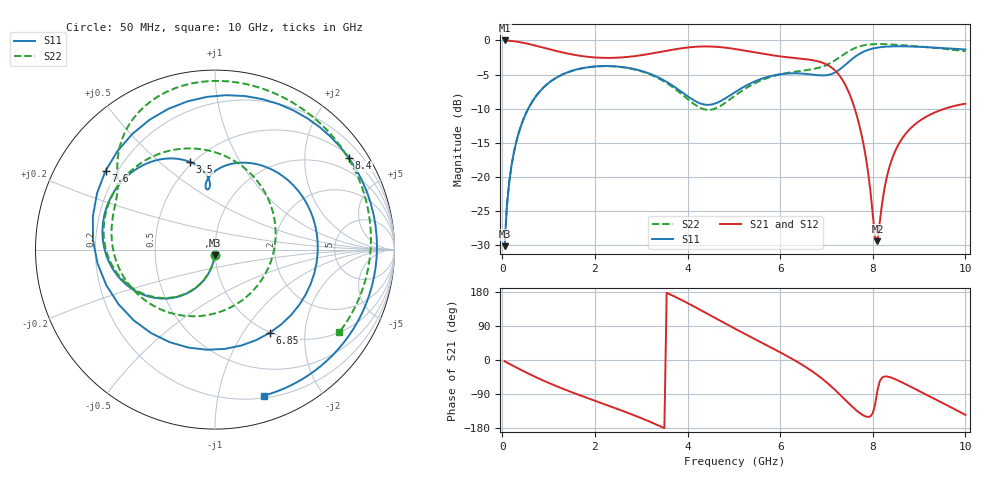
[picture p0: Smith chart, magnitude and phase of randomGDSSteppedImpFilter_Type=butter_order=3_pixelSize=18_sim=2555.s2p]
! freq	dB(S11)	phase(S11)	dB(S12)	phase(S12)
!  dB(S21)	phase(S21)	dB(S22)	phase(S22)
!S-par simulation data
#  GHz  S  DB  R 50
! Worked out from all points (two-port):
!   200 points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, 50 MHz to 10 GHz, reference 50 ohm
!   highest |S21| = -0.01 dB at 50 MHz (marker M1); lowest = -29.4 dB at 8.1 GHz (marker M2)
!   |S21| within 3 dB of the highest: start of sweep to 6.779 GHz
!   lowest |S11| = -30.1 dB at 50 MHz (marker M3), VSWR 1.06, Z = 49.7 - j3.1 ohm
!   |S11| at or under -10 dB: start of sweep to 560.6 MHz
!   |S22| runs from -30.1 to -0.5 dB; largest |S21 - S12| = 0
!   S11 on the Smith chart (normalised r, x): 50 MHz: 0.99, -0.06; 3.5 GHz: 0.48, +0.64; 6.85 GHz: 0.99, -1.33; 7.6 GHz: 0.16, +0.31; 8.4 GHz: 0.57, +3.15; 10 GHz: 0.22, -1.36
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0.05  -30.13 -93.5  -0.01 -3.3  -0.01 -3.3  -30.13 -93.5
0.2  -18.28 -103.5  -0.09 -13.1  -0.09 -13.1  -18.28 -103.6
0.5  -10.85 -122.3  -0.42 -32.0  -0.42 -32.0  -10.85 -122.7
1.75  -4.04 174.5  -2.32 -96.5  -2.32 -96.5  -4.05 171.7
2.7  -4.01 135.8  -2.43 -139.0  -2.43 -139.0  -4.05 125.9
3.4  -5.53 109.3  -1.70 -174.2  -1.70 -174.2  -5.65 82.9
3.5  -5.89 106.0  -1.58 -179.8  -1.58 -179.8  -6.04 75.4
4.25  -9.16 94.9  -0.91 134.0  -0.91 134.0  -9.79 -5.4
5.05  -7.48 92.4  -1.29 81.0  -1.29 81.0  -7.97 -112.0
5.9  -5.07 46.8  -2.25 26.8  -2.25 26.8  -5.14 -173.0
6.7  -5.01 -33.3  -2.90 -30.6  -2.90 -30.6  -4.21 153.5
6.85  -5.11 -56.6  -3.13 -43.9  -3.13 -43.9  -3.98 149.2
7.2  -4.64 -127.4  -4.51 -80.7  -4.51 -80.7  -2.85 139.1
7.4  -3.62 -173.3  -6.43 -104.6  -6.43 -104.6  -1.93 130.6
7.6  -2.48 144.3  -9.77 -127.9  -9.77 -127.9  -1.17 119.4
7.85  -1.51 100.5  -17.12 -149.1  -17.12 -149.1  -0.66 103.8
8.1  -1.06 66.4  -29.42 -80.7  -29.42 -80.7  -0.54 88.6
8.35  -0.89 39.2  -18.76 -44.6  -18.76 -44.6  -0.58 74.0
8.4  -0.88 34.3  -17.66 -46.5  -17.66 -46.5  -0.60 71.1
8.8  -0.89 0.7  -12.99 -69.4  -12.99 -69.4  -0.78 48.1
9.3  -1.04 -33.0  -10.67 -100.4  -10.67 -100.4  -1.07 17.3
10  -1.33 -71.6  -9.27 -144.8  -9.27 -144.8  -1.60 -33.6
